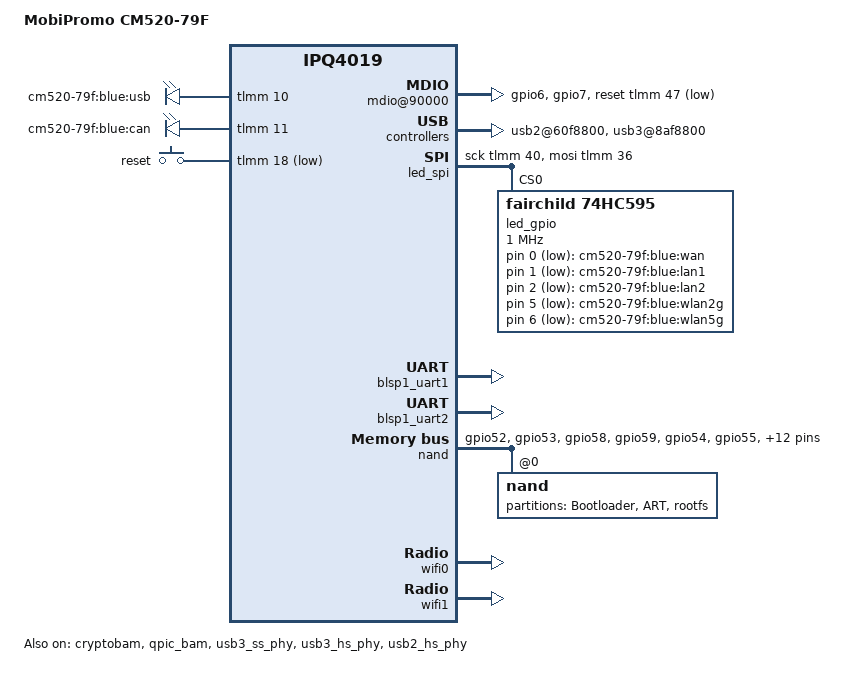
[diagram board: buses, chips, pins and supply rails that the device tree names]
// SPDX-License-Identifier: GPL-2.0-or-later OR MIT

#include "qcom-ipq4019.dtsi"
#include <dt-bindings/gpio/gpio.h>
#include <dt-bindings/input/input.h>
#include <dt-bindings/soc/qcom,tcsr.h>

/ {
	model = "MobiPromo CM520-79F";
	compatible = "mobipromo,cm520-79f";

	aliases {
		led-boot = &led_sys;
		led-failsafe = &led_sys;
		led-running = &led_sys;
		led-upgrade = &led_sys;
	};

	chosen {
		bootargs-append = " ubi.block=0,1 root=/dev/ubiblock0_1";
	};

	soc {
		rng@22000 {
			status = "okay";
		};

		mdio@90000 {
			status = "okay";
			pinctrl-0 = <&mdio_pins>;
			pinctrl-names = "default";
			reset-gpios = <&tlmm 47 GPIO_ACTIVE_LOW>;
			reset-delay-us = <1000>;
		};

		ess-psgmii@98000 {
			status = "okay";
		};

		tcsr@1949000 {
			compatible = "qcom,tcsr";
			reg = <0x1949000 0x100>;
			qcom,wifi_glb_cfg = <TCSR_WIFI_GLB_CFG>;
		};

		tcsr@194b000 {
			compatible = "qcom,tcsr";
			reg = <0x194b000 0x100>;
			qcom,usb-hsphy-mode-select = <TCSR_USB_HSPHY_HOST_MODE>;
		};

		ess_tcsr@1953000 {
			compatible = "qcom,tcsr";
			reg = <0x1953000 0x1000>;
			qcom,ess-interface-select = <TCSR_ESS_PSGMII>;
		};

		tcsr@1957000 {
			compatible = "qcom,tcsr";
			reg = <0x1957000 0x100>;
			qcom,wifi_noc_memtype_m0_m2 = <TCSR_WIFI_NOC_MEMTYPE_M0_M2>;
		};

		usb2@60f8800 {
			status = "okay";

			dwc3@6000000 {
				#address-cells = <1>;
				#size-cells = <0>;

				usb2_port1: port@1 {
					reg = <1>;
					#trigger-source-cells = <0>;
				};
			};
		};

		usb3@8af8800 {
			status = "okay";

			dwc3@8a00000 {
				#address-cells = <1>;
				#size-cells = <0>;

				usb3_port1: port@1 {
					reg = <1>;
					#trigger-source-cells = <0>;
				};

				usb3_port2: port@2 {
					reg = <2>;
					#trigger-source-cells = <0>;
				};
			};
		};

		crypto@8e3a000 {
			status = "okay";
		};

		watchdog@b017000 {
			status = "okay";
		};

		ess-switch@c000000 {
			status = "okay";
		};

		edma@c080000 {
			status = "okay";
		};
	};

	led_spi {
		compatible = "spi-gpio";
		#address-cells = <1>;
		#size-cells = <0>;

		sck-gpios = <&tlmm 40 GPIO_ACTIVE_HIGH>;
		mosi-gpios = <&tlmm 36 GPIO_ACTIVE_HIGH>;
		num-chipselects = <0>;

		led_gpio: led_gpio@0 {
			compatible = "fairchild,74hc595";
			reg = <0>;
			gpio-controller;
			#gpio-cells = <2>;
			registers-number = <1>;
			spi-max-frequency = <1000000>;
		};
	};

	leds {
		compatible = "gpio-leds";

		led_usb: usb {
			label = "cm520-79f:blue:usb";
			gpios = <&tlmm 10 GPIO_ACTIVE_HIGH>;
			linux,default-trigger = "usbport";
			trigger-sources = <&usb3_port1>, <&usb3_port2>, <&usb2_port1>;
		};

		led_sys: can {
			label = "cm520-79f:blue:can";
			gpios = <&tlmm 11 GPIO_ACTIVE_HIGH>;
		};

		wan {
			label = "cm520-79f:blue:wan";
			gpios = <&led_gpio 0 GPIO_ACTIVE_LOW>;
		};

		lan1 {
			label = "cm520-79f:blue:lan1";
			gpios = <&led_gpio 1 GPIO_ACTIVE_LOW>;
		};

		lan2 {
			label = "cm520-79f:blue:lan2";
			gpios = <&led_gpio 2 GPIO_ACTIVE_LOW>;
		};

		wlan2g {
			label = "cm520-79f:blue:wlan2g";
			gpios = <&led_gpio 5 GPIO_ACTIVE_LOW>;
			linux,default-trigger = "phy0tpt";
		};

		wlan5g {
			label = "cm520-79f:blue:wlan5g";
			gpios = <&led_gpio 6 GPIO_ACTIVE_LOW>;
			linux,default-trigger = "phy1tpt";
		};
	};

	keys {
		compatible = "gpio-keys";

		reset {
			label = "reset";
			gpios = <&tlmm 18 GPIO_ACTIVE_LOW>;
			linux,code = <KEY_RESTART>;
		};
	};
};

&blsp_dma {
	status = "okay";
};

&blsp1_uart1 {
	status = "okay";
};

&blsp1_uart2 {
	status = "okay";
};

&cryptobam {
	status = "okay";
};

&gmac0 {
	mtd-mac-address = <&art 0x1006>;
};

&gmac1 {
	mtd-mac-address = <&art 0x5006>;
};

&nand {
	pinctrl-0 = <&nand_pins>;
	pinctrl-names = "default";
	status = "okay";

	nand@0 {
		partitions {
			compatible = "fixed-partitions";
			#address-cells = <1>;
			#size-cells = <1>;

			partition@0 {
				label = "Bootloader";
				reg = <0x0 0xb00000>;
			};

			art: partition@b00000 {
				label = "ART";
				reg = <0xb00000 0x80000>;
				read-only;
			};

			partition@b80000 {
				label = "rootfs";
				reg = <0xb80000 0x7480000>;
			};
		};
	};
};

&qpic_bam {
	status = "okay";
};

&tlmm {
	mdio_pins: mdio_pinmux {
		mux_1 {
			pins = "gpio6";
			function = "mdio";
			bias-pull-up;
		};

		mux_2 {
			pins = "gpio7";
			function = "mdc";
			bias-pull-up;
		};
	};

	nand_pins: nand_pins {
		pullups {
			pins =	"gpio52", "gpio53", "gpio58",
				"gpio59";
			function = "qpic";
			bias-pull-up;
		};

		pulldowns {
			pins =	"gpio54", "gpio55", "gpio56",
				"gpio57", "gpio60", "gpio61",
				"gpio62", "gpio63", "gpio64",
				"gpio65", "gpio66", "gpio67",
				"gpio68", "gpio69";
			function = "qpic";
			bias-pull-down;
		};
	};
};

&usb3_ss_phy {
	status = "okay";
};

&usb3_hs_phy {
	status = "okay";
};

&usb2_hs_phy {
	status = "okay";
};

&wifi0 {
	status = "okay";
	qcom,ath10k-calibration-variant = "CM520-79F";
};

&wifi1 {
	status = "okay";
	qcom,ath10k-calibration-variant = "CM520-79F";
};
